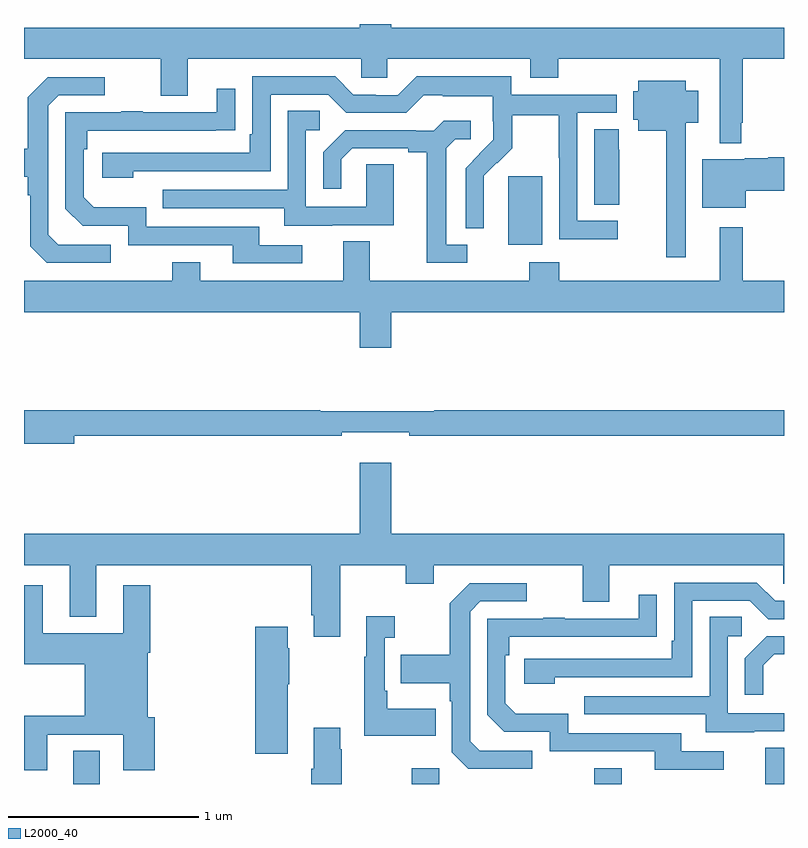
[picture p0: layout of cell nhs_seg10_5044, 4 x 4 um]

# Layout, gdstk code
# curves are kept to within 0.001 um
import gdstk
lib = gdstk.Library(unit=1e-6, precision=1e-09)
def R(c, l, rs):  # rectangles x0, y0, x1, y1
    for r in rs: c.add(gdstk.rectangle(r[:2], r[2:], *l))
def P(c, l, *ps):  # polygons
    for p in ps: c.add(gdstk.Polygon(p, *l))
L2000_40 = (2000, 40)

nhs_seg10_5044 = lib.new_cell('nhs_seg10_5044')
R(nhs_seg10_5044, L2000_40, [(403.259,1296.5,403.399,1296.674), (405.04,1296.5,405.186,1296.583), (406,1296.5,406.147,1296.583), (406.901,1296.5,407,1296.692), (405.548,1299.338,405.727,1299.699)])
P(nhs_seg10_5044, L2000_40, [(406.775,1299.979),(406.783,1299.979),(406.783,1300.316),(407,1300.316),(407,1300.48),(404.932,1300.48),(404.932,1300.5),(404.768,1300.5),(404.768,1300.48),(403,1300.48),(403,1300.316),(403.721,1300.316),(403.721,1300.122),(403.861,1300.122),(403.861,1300.316),(404.775,1300.316),(404.775,1300.218),(404.913,1300.218),(404.913,1300.316),(405.665,1300.316),(405.665,1300.217),(405.813,1300.217),(405.813,1300.316),(406.661,1300.316),(406.661,1299.872),(406.775,1299.872)],
  [(406.126,1299.465),(405.912,1299.465),(405.912,1300.032),(406.121,1300.032),(406.121,1300.128),(405.564,1300.128),(405.564,1300.225),(405.067,1300.225),(404.967,1300.125),(404.852,1300.125),(404.852,1300.128),(404.733,1300.128),(404.637,1300.224),(404.202,1300.224),(404.202,1299.919),(404.189,1299.919),(404.189,1299.822),(403.413,1299.822),(403.413,1299.692),(403.574,1299.692),(403.574,1299.726),(404.298,1299.726),(404.298,1300.128),(404.601,1300.128),(404.697,1300.032),(405.012,1300.032),(405.105,1300.125),(405.205,1300.125),(405.205,1300.121),(405.468,1300.121),(405.468,1299.987),(405.47,1299.987),(405.47,1299.89),(405.324,1299.742),(405.324,1299.424),(405.42,1299.424),(405.419,1299.701),(405.489,1299.771),(405.492,1299.768),(405.569,1299.845),(405.569,1300.02),(405.814,1300.02),(405.814,1299.796),(405.816,1299.796),(405.816,1299.367),(406.126,1299.367)],
  [(403.456,1299.339),(403.179,1299.339),(403.128,1299.39),(403.128,1300.071),(403.182,1300.125),(403.426,1300.125),(403.426,1300.221),(403.125,1300.221),(403.02,1300.115),(403.02,1299.843),(403,1299.843),(403,1299.695),(403.02,1299.695),(403.02,1299.599),(403.032,1299.599),(403.032,1299.33),(403.119,1299.243),(403.456,1299.243)],
  [(406.483,1299.98),(406.549,1299.98),(406.549,1300.15),(406.483,1300.15),(406.483,1300.201),(406.232,1300.201),(406.232,1300.146),(406.206,1300.146),(406.206,1299.996),(406.232,1299.996),(406.232,1299.938),(406.379,1299.938),(406.379,1299.273),(406.483,1299.273)],
  [(404.464,1299.336),(404.239,1299.336),(404.239,1299.432),(403.644,1299.432),(403.644,1299.535),(403.367,1299.535),(403.314,1299.588),(403.314,1299.842),(403.334,1299.842),(403.334,1299.939),(404.111,1299.94),(404.111,1300.159),(404.015,1300.159),(404.015,1300.035),(403.625,1300.035),(403.625,1300.04),(403.513,1300.04),(403.513,1300.035),(403.218,1300.035),(403.218,1299.528),(403.308,1299.438),(403.548,1299.438),(403.548,1299.336),(404.099,1299.336),(404.099,1299.24),(404.464,1299.24)],
  [(404.623,1299.441),(404.947,1299.441),(404.947,1299.761),(404.802,1299.761),(404.802,1299.537),(404.484,1299.537),(404.484,1299.942),(404.557,1299.942),(404.557,1300.043),(404.388,1300.043),(404.388,1299.627),(403.729,1299.627),(403.729,1299.531),(404.369,1299.531),(404.369,1299.437),(404.623,1299.437)],
  [(405.334,1299.339),(405.223,1299.339),(405.223,1299.847),(405.27,1299.894),(405.352,1299.894),(405.352,1299.991),(405.208,1299.991),(405.156,1299.939),(405.062,1299.939),(405.062,1299.942),(404.69,1299.942),(404.574,1299.826),(404.574,1299.633),(404.671,1299.633),(404.671,1299.789),(404.728,1299.846),(405.023,1299.846),(405.023,1299.824),(405.119,1299.824),(405.119,1299.243),(405.334,1299.243)],
  [(406.132,1299.839),(406.131,1299.839),(406.131,1299.947),(406.001,1299.947),(406.001,1299.55),(406.132,1299.55)],
  [(406.798,1299.622),(407,1299.622),(407,1299.8),(406.916,1299.8),(406.916,1299.793),(406.794,1299.793),(406.794,1299.787),(406.571,1299.787),(406.571,1299.533),(406.798,1299.533)],
  [(404.932,1298.984),(407,1298.984),(407,1299.148),(406.783,1299.148),(406.783,1299.43),(406.661,1299.43),(406.661,1299.148),(405.818,1299.148),(405.818,1299.247),(405.658,1299.247),(405.658,1299.148),(404.821,1299.148),(404.821,1299.356),(404.681,1299.356),(404.681,1299.148),(403.927,1299.148),(403.927,1299.247),(403.78,1299.247),(403.78,1299.148),(403,1299.148),(403,1298.984),(404.768,1298.984),(404.768,1298.796),(404.932,1298.796)],
  [(403.264,1298.332),(404.672,1298.332),(404.672,1298.351),(405.028,1298.351),(405.028,1298.332),(407,1298.332),(407,1298.468),(405.16,1298.468),(405.16,1298.461),(404.56,1298.461),(404.56,1298.468),(403,1298.468),(403,1298.29),(403.264,1298.29)],
  [(404.665,1297.652),(405.01,1297.652),(405.01,1297.553),(405.157,1297.553),(405.157,1297.652),(405.941,1297.652),(405.941,1297.458),(406.081,1297.458),(406.081,1297.652),(406.995,1297.652),(406.995,1297.554),(407,1297.554),(407,1297.816),(404.932,1297.816),(404.932,1298.191),(404.768,1298.191),(404.768,1297.816),(403,1297.816),(403,1297.652),(403.241,1297.652),(403.241,1297.379),(403.381,1297.379),(403.381,1297.652),(404.513,1297.652),(404.513,1297.387),(404.525,1297.387),(404.525,1297.275),(404.665,1297.275)],
  [(405.794,1297.062),(406.518,1297.062),(406.518,1297.464),(406.821,1297.464),(406.917,1297.368),(407,1297.368),(407,1297.464),(406.953,1297.464),(406.857,1297.56),(406.422,1297.56),(406.422,1297.255),(406.409,1297.255),(406.409,1297.158),(405.633,1297.158),(405.633,1297.028),(405.794,1297.028)],
  [(405.676,1296.675),(405.399,1296.675),(405.348,1296.726),(405.348,1297.407),(405.402,1297.461),(405.646,1297.461),(405.646,1297.557),(405.345,1297.557),(405.24,1297.451),(405.24,1297.179),(404.983,1297.179),(404.983,1297.031),(405.24,1297.031),(405.24,1296.935),(405.252,1296.935),(405.252,1296.666),(405.339,1296.579),(405.676,1296.579)],
  [(403.123,1296.759),(403.523,1296.759),(403.523,1296.573),(403.688,1296.573),(403.688,1296.852),(403.651,1296.852),(403.651,1297.19),(403.664,1297.19),(403.664,1297.546),(403.523,1297.546),(403.523,1297.294),(403.099,1297.294),(403.099,1297.546),(403,1297.546),(403,1297.13),(403.319,1297.13),(403.319,1296.86),(403,1296.86),(403,1296.573),(403.123,1296.573)],
  [(406.684,1296.672),(406.459,1296.672),(406.459,1296.768),(405.864,1296.768),(405.864,1296.871),(405.587,1296.871),(405.534,1296.924),(405.534,1297.178),(405.554,1297.178),(405.554,1297.275),(406.331,1297.276),(406.331,1297.495),(406.235,1297.495),(406.235,1297.371),(405.845,1297.371),(405.845,1297.376),(405.733,1297.376),(405.733,1297.371),(405.438,1297.371),(405.438,1296.864),(405.528,1296.774),(405.768,1296.774),(405.768,1296.672),(406.319,1296.672),(406.319,1296.576),(406.684,1296.576)],
  [(405.167,1296.895),(404.911,1296.895),(404.911,1296.991),(404.898,1296.991),(404.898,1297.271),(404.95,1297.271),(404.95,1297.384),(404.801,1297.384),(404.801,1297.171),(404.79,1297.171),(404.79,1296.755),(405.167,1296.755)],
  [(406.843,1296.777),(407,1296.777),(407,1296.873),(406.704,1296.873),(406.704,1297.278),(406.777,1297.278),(406.777,1297.379),(406.608,1297.379),(406.608,1296.963),(405.949,1296.963),(405.949,1296.867),(406.589,1296.867),(406.589,1296.773),(406.843,1296.773)],
  [(404.389,1297.025),(404.397,1297.025),(404.397,1297.214),(404.389,1297.214),(404.389,1297.327),(404.216,1297.327),(404.216,1296.66),(404.389,1296.66)],
  [(406.891,1297.125),(406.948,1297.182),(407,1297.182),(407,1297.278),(406.91,1297.278),(406.794,1297.162),(406.794,1296.969),(406.891,1296.969)],
  [(404.673,1296.683),(404.665,1296.683),(404.665,1296.796),(404.525,1296.796),(404.525,1296.58),(404.513,1296.58),(404.513,1296.5),(404.673,1296.5)])

lib.write_gds('nhs_seg10_5044.gds')
